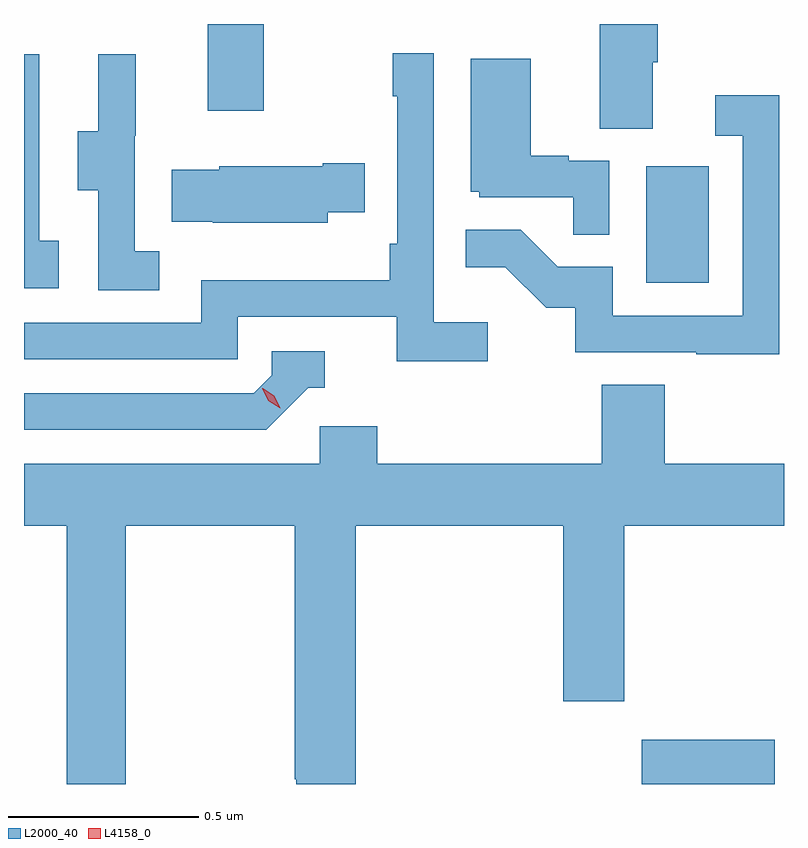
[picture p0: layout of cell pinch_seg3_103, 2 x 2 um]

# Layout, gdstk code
import gdstk
lib = gdstk.Library(unit=1e-6, precision=1e-09)
def R(c, l, rs):  # rectangles x0, y0, x1, y1
    for r in rs: c.add(gdstk.rectangle(r[:2], r[2:], *l))
def P(c, l, *ps):  # polygons
    for p in ps: c.add(gdstk.Polygon(p, *l))
L2000_40 = (2000, 40)
L4158_0 = (4158, 0)

pinch_seg3_103 = lib.new_cell('pinch_seg3_103')
R(pinch_seg3_103, L2000_40, [(1063.34,726.877,1063.69,726.994), (1063.352,728.196,1063.516,728.503), (1062.197,728.649,1062.345,728.877)])
P(pinch_seg3_103, L2000_40, [(1063.369,728.776),(1063.382,728.776),(1063.382,728.877),(1063.229,728.877),(1063.229,728.602),(1063.369,728.602)],
  [(1062.934,728.092),(1062.792,728.092),(1062.792,728.8),(1062.684,728.8),(1062.684,728.687),(1062.696,728.687),(1062.696,728.299),(1062.676,728.299),(1062.676,728.203),(1062.18,728.203),(1062.18,728.091),(1061.714,728.091),(1061.714,727.995),(1062.276,727.995),(1062.276,728.106),(1062.695,728.106),(1062.695,727.99),(1062.934,727.99)],
  [(1061.806,728.306),(1061.754,728.306),(1061.754,728.797),(1061.714,728.797),(1061.714,728.181),(1061.806,728.181)],
  [(1062.07,728.279),(1062.006,728.279),(1062.006,728.583),(1062.008,728.583),(1062.008,728.797),(1061.909,728.797),(1061.909,728.595),(1061.855,728.595),(1061.855,728.44),(1061.91,728.44),(1061.91,728.176),(1062.07,728.176)],
  [(1063.254,728.517),(1063.148,728.517),(1063.148,728.53),(1063.048,728.53),(1063.048,728.785),(1062.89,728.785),(1062.89,728.436),(1062.912,728.436),(1062.912,728.421),(1063.159,728.421),(1063.159,728.323),(1063.254,728.323)],
  [(1063.701,728.689),(1063.533,728.689),(1063.533,728.583),(1063.605,728.583),(1063.605,728.109),(1063.263,728.109),(1063.263,728.238),(1063.119,728.238),(1063.021,728.336),(1062.877,728.336),(1062.877,728.237),(1062.981,728.237),(1063.088,728.13),(1063.165,728.13),(1063.165,728.013),(1063.483,728.013),(1063.483,728.008),(1063.701,728.008)],
  [(1062.513,728.381),(1062.611,728.381),(1062.611,728.511),(1062.5,728.511),(1062.5,728.503),(1062.228,728.503),(1062.228,728.494),(1062.103,728.494),(1062.103,728.357),(1062.211,728.357),(1062.211,728.354),(1062.513,728.354)],
  [(1062.462,727.92),(1062.505,727.92),(1062.505,728.016),(1062.366,728.016),(1062.366,727.953),(1062.318,727.905),(1061.714,727.905),(1061.714,727.809),(1062.351,727.809)],
  [(1061.982,727.556),(1062.427,727.556),(1062.427,726.889),(1062.431,726.889),(1062.431,726.877),(1062.587,726.877),(1062.587,727.556),(1063.133,727.556),(1063.133,727.095),(1063.293,727.095),(1063.293,727.556),(1063.714,727.556),(1063.714,727.72),(1063.4,727.72),(1063.4,727.928),(1063.235,727.928),(1063.235,727.72),(1062.644,727.72),(1062.644,727.818),(1062.492,727.818),(1062.492,727.72),(1061.714,727.72),(1061.714,727.556),(1061.827,727.556),(1061.827,726.877),(1061.982,726.877)])
P(pinch_seg3_103, L4158_0, [(1062.388,727.866),(1062.357,727.885),(1062.341,727.918),(1062.341,727.918),(1062.342,727.918),(1062.372,727.899),(1062.388,727.866),(1062.388,727.866)])

lib.write_gds('pinch_seg3_103.gds')
